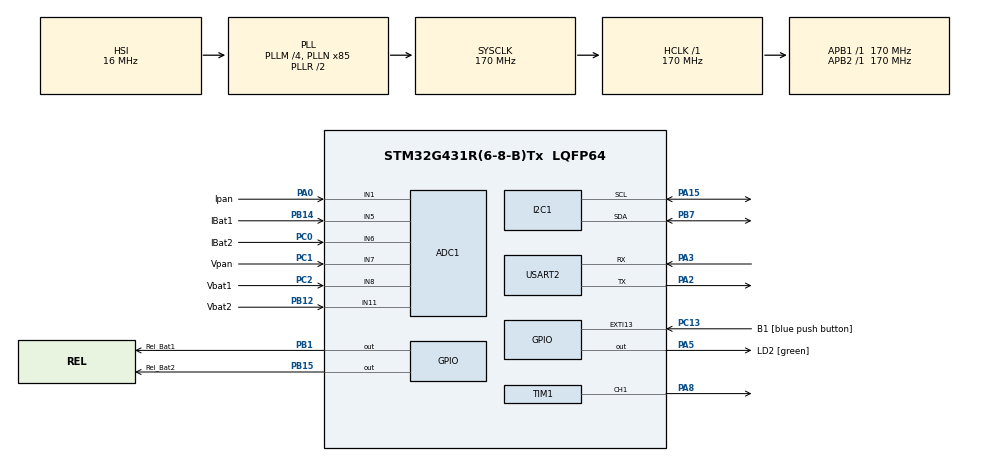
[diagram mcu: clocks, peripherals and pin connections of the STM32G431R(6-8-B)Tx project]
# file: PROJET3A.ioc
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ADC1.Channel-0\#ChannelRegularConversion=ADC_CHANNEL_1
ADC1.Channel-1\#ChannelRegularConversion=ADC_CHANNEL_5
ADC1.Channel-2\#ChannelRegularConversion=ADC_CHANNEL_6
ADC1.Channel-3\#ChannelRegularConversion=ADC_CHANNEL_7
ADC1.Channel-4\#ChannelRegularConversion=ADC_CHANNEL_8
ADC1.Channel-5\#ChannelRegularConversion=ADC_CHANNEL_11
ADC1.DMAContinuousRequests=ENABLE
ADC1.ExternalTrigConv=ADC_EXTERNALTRIG_T2_TRGO
ADC1.NbrOfConversion=6
ADC1.NbrOfConversionFlag=1
ADC1.OffsetNumber-0\#ChannelRegularConversion=ADC_OFFSET_NONE
ADC1.OffsetNumber-1\#ChannelRegularConversion=ADC_OFFSET_NONE
ADC1.OffsetNumber-2\#ChannelRegularConversion=ADC_OFFSET_NONE
ADC1.OffsetNumber-3\#ChannelRegularConversion=ADC_OFFSET_NONE
ADC1.OffsetNumber-4\#ChannelRegularConversion=ADC_OFFSET_NONE
ADC1.OffsetNumber-5\#ChannelRegularConversion=ADC_OFFSET_NONE
ADC1.Rank-0\#ChannelRegularConversion=1
ADC1.Rank-1\#ChannelRegularConversion=2
ADC1.Rank-2\#ChannelRegularConversion=3
ADC1.Rank-3\#ChannelRegularConversion=4
ADC1.Rank-4\#ChannelRegularConversion=5
ADC1.Rank-5\#ChannelRegularConversion=6
ADC1.SamplingTime-0\#ChannelRegularConversion=ADC_SAMPLETIME_2CYCLES_5
ADC1.SamplingTime-1\#ChannelRegularConversion=ADC_SAMPLETIME_2CYCLES_5
ADC1.SamplingTime-2\#ChannelRegularConversion=ADC_SAMPLETIME_2CYCLES_5
ADC1.SamplingTime-3\#ChannelRegularConversion=ADC_SAMPLETIME_2CYCLES_5
ADC1.SamplingTime-4\#ChannelRegularConversion=ADC_SAMPLETIME_2CYCLES_5
ADC1.SamplingTime-5\#ChannelRegularConversion=ADC_SAMPLETIME_2CYCLES_5
ADC1.master=1
Dma.ADC1.0.Direction=DMA_PERIPH_TO_MEMORY
Dma.ADC1.0.EventEnable=DISABLE
Dma.ADC1.0.Instance=DMA1_Channel1
Dma.ADC1.0.MemDataAlignment=DMA_MDATAALIGN_WORD
Dma.ADC1.0.MemInc=DMA_MINC_ENABLE
Dma.ADC1.0.Mode=DMA_CIRCULAR
Dma.ADC1.0.PeriphDataAlignment=DMA_PDATAALIGN_WORD
Dma.ADC1.0.PeriphInc=DMA_PINC_DISABLE
Dma.ADC1.0.Polarity=HAL_DMAMUX_REQ_GEN_RISING
Dma.ADC1.0.Priority=DMA_PRIORITY_LOW
Dma.ADC1.0.RequestNumber=1
Dma.ADC1.0.SignalID=NONE
Dma.ADC1.0.SyncEnable=DISABLE
Dma.ADC1.0.SyncPolarity=HAL_DMAMUX_SYNC_NO_EVENT
Dma.ADC1.0.SyncRequestNumber=1
Dma.ADC1.0.SyncSignalID=NONE
Dma.Request0=ADC1
I2C1.Timing=0x30A0A7FB
Mcu.Family=STM32G4
Mcu.Name=STM32G431R(6-8-B)Tx
Mcu.Package=LQFP64
NVIC.DMA1_Channel1_IRQn=true\:0\:0\:false\:false\:true\:false\:true\:true
NVIC.EXTI15_10_IRQn=true\:0\:0\:false\:false\:true\:true\:true\:true
NVIC.PriorityGroup=NVIC_PRIORITYGROUP_4
NVIC.TIM3_IRQn=true\:0\:0\:false\:false\:true\:true\:true\:true
PA0.GPIO_Label=Ipan
PA0.Mode=IN1-Single-Ended
PA0.Signal=ADC1_IN1
PA13.GPIO_Label=T_SWDIO
PA13.Mode=Serial_Wire
PA13.Signal=SYS_JTMS-SWDIO
PA14.GPIO_Label=T_SWCLK
PA14.Mode=Serial_Wire
PA14.Signal=SYS_JTCK-SWCLK
PA15.Mode=I2C
PA15.Signal=I2C1_SCL
PA2.Mode=Asynchronous
PA2.Signal=USART2_TX
PA3.Mode=Asynchronous
PA3.Signal=USART2_RX
PA5.GPIO_Label=LD2 [green]
PA5.Signal=GPIO_Output
PA8.Signal=S_TIM1_CH1
PB1.GPIO_Label=Rel_Bat1
PB1.Signal=GPIO_Output
PB12.GPIO_Label=Vbat2
PB12.Mode=IN11-Single-Ended
PB12.Signal=ADC1_IN11
PB14.GPIO_Label=IBat1
PB14.Mode=IN5-Single-Ended
PB14.Signal=ADC1_IN5
PB15.GPIO_Label=Rel_Bat2
PB15.Signal=GPIO_Output
PB3.GPIO_Label=T_SWO
PB3.Signal=SYS_JTDO-SWO
PB7.Mode=I2C
PB7.Signal=I2C1_SDA
PC0.GPIO_Label=IBat2
PC0.Mode=IN6-Single-Ended
PC0.Signal=ADC1_IN6
PC1.GPIO_Label=Vpan
PC1.Mode=IN7-Single-Ended
PC1.Signal=ADC1_IN7
PC13.GPIO_Label=B1 [blue push button]
PC13.Signal=GPXTI13
PC14-OSC32_IN.Mode=LSE-External-Oscillator
PC14-OSC32_IN.Signal=RCC_OSC32_IN
PC15-OSC32_OUT.Mode=LSE-External-Oscillator
PC15-OSC32_OUT.Signal=RCC_OSC32_OUT
PC2.GPIO_Label=Vbat1
PC2.Mode=IN8-Single-Ended
PC2.Signal=ADC1_IN8
PF0-OSC_IN.Mode=HSE-External-Oscillator
PF0-OSC_IN.Signal=RCC_OSC_IN
PF1-OSC_OUT.Mode=HSE-External-Oscillator
PF1-OSC_OUT.Signal=RCC_OSC_OUT
ProjectManager.HeapSize=0x200
ProjectManager.StackSize=0x400
ProjectManager.TargetToolchain=STM32CubeIDE
RCC.ADC12Freq_Value=170000000
RCC.AHBFreq_Value=170000000
RCC.APB1Freq_Value=170000000
RCC.APB1TimFreq_Value=170000000
RCC.APB2Freq_Value=170000000
RCC.APB2TimFreq_Value=170000000
RCC.CortexFreq_Value=170000000
RCC.EXTERNAL_CLOCK_VALUE=12288000
RCC.HCLKFreq_Value=170000000
RCC.HSE_VALUE=24000000
RCC.HSI48_VALUE=48000000
RCC.HSI_VALUE=16000000
RCC.PLLM=RCC_PLLM_DIV4
RCC.PLLN=85
RCC.RTCClockSelection=RCC_RTCCLKSOURCE_LSE
RCC.SYSCLKFreq_VALUE=170000000
RCC.SYSCLKSource=RCC_SYSCLKSOURCE_PLLCLK
RCC.USBFreq_Value=170000000
RCC.VCOOutputFreq_Value=340000000
SH.S_TIM1_CH1.0=TIM1_CH1,PWM Generation1 CH1
TIM1.AutoReloadPreload=TIM_AUTORELOAD_PRELOAD_ENABLE
TIM1.Channel-PWM\ Generation1\ CH1=TIM_CHANNEL_1
TIM1.PeriodNoDither=17199
TIM1.Prescaler=0
TIM2.PeriodNoDither=17199
TIM2.TIM_MasterOutputTrigger=TIM_TRGO_UPDATE
TIM2.TIM_MasterSlaveMode=TIM_MASTERSLAVEMODE_ENABLE
TIM3.AutoReloadPreload=TIM_AUTORELOAD_PRELOAD_ENABLE
TIM3.Prescaler=2593
USART2.VirtualMode-Asynchronous=VM_ASYNC
VP_SYS_VS_DBSignals.Mode=DisableDeadBatterySignals
VP_TIM1_VS_ClockSourceINT.Mode=Internal
VP_TIM2_VS_ClockSourceINT.Mode=Internal
VP_TIM3_VS_ClockSourceINT.Mode=Internal
board=NUCLEO-G431RB

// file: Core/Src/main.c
/* USER CODE BEGIN Header */
/**
  ******************************************************************************
  * @file           : main.c
  * @brief          : Main program body
  ******************************************************************************
  * @attention
  *
  * Copyright (c) 2022 STMicroelectronics.
  * All rights reserved.
  *
  * This software is licensed under terms that can be found in the LICENSE file
  * in the root directory of this software component.
  * If no LICENSE file comes with this software, it is provided AS-IS.
  *
  ******************************************************************************
  */
/* USER CODE END Header */
#include "main.h"

/* USER CODE BEGIN Includes */
#include <stdio.h>
#include <string.h>
/* USER CODE END Includes */

/* USER CODE BEGIN PD */
#define UARTTX_BUFFER_SIZE 64
#define ADC_BUFFER_SIZE 6
/* USER CODE END PD */

ADC_HandleTypeDef hadc1;
DMA_HandleTypeDef hdma_adc1;

I2C_HandleTypeDef hi2c1;

TIM_HandleTypeDef htim1;
TIM_HandleTypeDef htim2;
TIM_HandleTypeDef htim3;

UART_HandleTypeDef huart2;

/* USER CODE BEGIN PV */
uint8_t uartTX_Buffer[UARTTX_BUFFER_SIZE];
uint32_t adc1Buffer[ADC_BUFFER_SIZE];
float MeasuredDataBuffer[ADC_BUFFER_SIZE];
int adc1flag = 0;
int lcdflag=0;

/* USER CODE END PV */

void SystemClock_Config(void);
static void MX_GPIO_Init(void);
static void MX_DMA_Init(void);
static void MX_USART2_UART_Init(void);
static void MX_TIM1_Init(void);
static void MX_TIM2_Init(void);
static void MX_ADC1_Init(void);
static void MX_I2C1_Init(void);
static void MX_TIM3_Init(void);

int main(void)
{

  /* MCU Configuration--------------------------------------------------------*/

  /* Reset of all peripherals, Initializes the Flash interface and the Systick. */
  HAL_Init();

  /* Configure the system clock */
  SystemClock_Config();

  /* Initialize all configured peripherals */
  MX_GPIO_Init();
  MX_DMA_Init();
  MX_USART2_UART_Init();
  MX_TIM1_Init();
  MX_TIM2_Init();
  MX_ADC1_Init();
  MX_I2C1_Init();
  MX_TIM3_Init();
  /* USER CODE BEGIN 2 */
  sprintf (uartTX_Buffer,"PROJET 3A - Chargeur MPPT");
  HAL_UART_Transmit(&huart2, uartTX_Buffer, strlen(uartTX_Buffer), HAL_MAX_DELAY);

  //Start TIM1&2
  HAL_TIM_PWM_Start(&htim1, TIM_CHANNEL_1);
  HAL_TIM_Base_Start(&htim2);

  //Start ADC1&2 in DMA Mode triggered by TIM2
  HAL_ADC_Start_DMA(&hadc1, adc1Buffer, ADC_BUFFER_SIZE);

  //LCD Initialisation
  lcdInit();
  HAL_TIM_Base_Start_IT(&htim3);

  /* USER CODE END 2 */

  /* Infinite loop */
  /* USER CODE BEGIN WHILE */
  while (1)
  {
	  UartprintADCValue();
	  //lcdchangeDisplay();
    /* USER CODE END WHILE */

  }
}

void SystemClock_Config(void)
{
  RCC_OscInitTypeDef RCC_OscInitStruct = {0};
  RCC_ClkInitTypeDef RCC_ClkInitStruct = {0};

  /** Configure the main internal regulator output voltage
  */
  HAL_PWREx_ControlVoltageScaling(PWR_REGULATOR_VOLTAGE_SCALE1_BOOST);

  /** Initializes the RCC Oscillators according to the specified parameters
  * in the RCC_OscInitTypeDef structure.
  */
  RCC_OscInitStruct.OscillatorType = RCC_OSCILLATORTYPE_HSI;
  RCC_OscInitStruct.HSIState = RCC_HSI_ON;
  RCC_OscInitStruct.HSICalibrationValue = RCC_HSICALIBRATION_DEFAULT;
  RCC_OscInitStruct.PLL.PLLState = RCC_PLL_ON;
  RCC_OscInitStruct.PLL.PLLSource = RCC_PLLSOURCE_HSI;
  RCC_OscInitStruct.PLL.PLLM = RCC_PLLM_DIV4;
  RCC_OscInitStruct.PLL.PLLN = 85;
  RCC_OscInitStruct.PLL.PLLP = RCC_PLLP_DIV2;
  RCC_OscInitStruct.PLL.PLLQ = RCC_PLLQ_DIV2;
  RCC_OscInitStruct.PLL.PLLR = RCC_PLLR_DIV2;
  if (HAL_RCC_OscConfig(&RCC_OscInitStruct) != HAL_OK)
  {
    Error_Handler();
  }

  /** Initializes the CPU, AHB and APB buses clocks
  */
  RCC_ClkInitStruct.ClockType = RCC_CLOCKTYPE_HCLK|RCC_CLOCKTYPE_SYSCLK
                              |RCC_CLOCKTYPE_PCLK1|RCC_CLOCKTYPE_PCLK2;
  RCC_ClkInitStruct.SYSCLKSource = RCC_SYSCLKSOURCE_PLLCLK;
  RCC_ClkInitStruct.AHBCLKDivider = RCC_SYSCLK_DIV1;
  RCC_ClkInitStruct.APB1CLKDivider = RCC_HCLK_DIV1;
  RCC_ClkInitStruct.APB2CLKDivider = RCC_HCLK_DIV1;

  if (HAL_RCC_ClockConfig(&RCC_ClkInitStruct, FLASH_LATENCY_4) != HAL_OK)
  {
    Error_Handler();
  }
}

static void MX_ADC1_Init(void)
{

  ADC_MultiModeTypeDef multimode = {0};
  ADC_ChannelConfTypeDef sConfig = {0};

  /** Common config
  */
  hadc1.Instance = ADC1;
  hadc1.Init.ClockPrescaler = ADC_CLOCK_SYNC_PCLK_DIV4;
  hadc1.Init.Resolution = ADC_RESOLUTION_12B;
  hadc1.Init.DataAlign = ADC_DATAALIGN_RIGHT;
  hadc1.Init.GainCompensation = 0;
  hadc1.Init.ScanConvMode = ADC_SCAN_ENABLE;
  hadc1.Init.EOCSelection = ADC_EOC_SINGLE_CONV;
  hadc1.Init.LowPowerAutoWait = DISABLE;
  hadc1.Init.ContinuousConvMode = DISABLE;
  hadc1.Init.NbrOfConversion = 6;
  hadc1.Init.DiscontinuousConvMode = DISABLE;
  hadc1.Init.ExternalTrigConv = ADC_EXTERNALTRIG_T2_TRGO;
  hadc1.Init.ExternalTrigConvEdge = ADC_EXTERNALTRIGCONVEDGE_RISING;
  hadc1.Init.DMAContinuousRequests = ENABLE;
  hadc1.Init.Overrun = ADC_OVR_DATA_PRESERVED;
  hadc1.Init.OversamplingMode = DISABLE;
  if (HAL_ADC_Init(&hadc1) != HAL_OK)
  {
    Error_Handler();
  }

  /** Configure the ADC multi-mode
  */
  multimode.Mode = ADC_MODE_INDEPENDENT;
  if (HAL_ADCEx_MultiModeConfigChannel(&hadc1, &multimode) != HAL_OK)
  {
    Error_Handler();
  }

  /** Configure Regular Channel
  */
  sConfig.Channel = ADC_CHANNEL_1;
  sConfig.Rank = ADC_REGULAR_RANK_1;
  sConfig.SamplingTime = ADC_SAMPLETIME_2CYCLES_5;
  sConfig.SingleDiff = ADC_SINGLE_ENDED;
  sConfig.OffsetNumber = ADC_OFFSET_NONE;
  sConfig.Offset = 0;
  if (HAL_ADC_ConfigChannel(&hadc1, &sConfig) != HAL_OK)
  {
    Error_Handler();
  }

  /** Configure Regular Channel
  */
  sConfig.Channel = ADC_CHANNEL_5;
  sConfig.Rank = ADC_REGULAR_RANK_2;
  if (HAL_ADC_ConfigChannel(&hadc1, &sConfig) != HAL_OK)
  {
    Error_Handler();
  }

  /** Configure Regular Channel
  */
  sConfig.Channel = ADC_CHANNEL_6;
  sConfig.Rank = ADC_REGULAR_RANK_3;
  if (HAL_ADC_ConfigChannel(&hadc1, &sConfig) != HAL_OK)
  {
    Error_Handler();
  }

  /** Configure Regular Channel
  */
  sConfig.Channel = ADC_CHANNEL_7;
  sConfig.Rank = ADC_REGULAR_RANK_4;
  if (HAL_ADC_ConfigChannel(&hadc1, &sConfig) != HAL_OK)
  {
    Error_Handler();
  }

  /** Configure Regular Channel
  */
  sConfig.Channel = ADC_CHANNEL_8;
  sConfig.Rank = ADC_REGULAR_RANK_5;
  if (HAL_ADC_ConfigChannel(&hadc1, &sConfig) != HAL_OK)
  {
    Error_Handler();
  }

  /** Configure Regular Channel
  */
  sConfig.Channel = ADC_CHANNEL_11;
  sConfig.Rank = ADC_REGULAR_RANK_6;
  if (HAL_ADC_ConfigChannel(&hadc1, &sConfig) != HAL_OK)
  {
    Error_Handler();
  }

}

static void MX_I2C1_Init(void)
{

  hi2c1.Instance = I2C1;
  hi2c1.Init.Timing = 0x30A0A7FB;
  hi2c1.Init.OwnAddress1 = 0;
  hi2c1.Init.AddressingMode = I2C_ADDRESSINGMODE_7BIT;
  hi2c1.Init.DualAddressMode = I2C_DUALADDRESS_DISABLE;
  hi2c1.Init.OwnAddress2 = 0;
  hi2c1.Init.OwnAddress2Masks = I2C_OA2_NOMASK;
  hi2c1.Init.GeneralCallMode = I2C_GENERALCALL_DISABLE;
  hi2c1.Init.NoStretchMode = I2C_NOSTRETCH_DISABLE;
  if (HAL_I2C_Init(&hi2c1) != HAL_OK)
  {
    Error_Handler();
  }

  /** Configure Analogue filter
  */
  if (HAL_I2CEx_ConfigAnalogFilter(&hi2c1, I2C_ANALOGFILTER_ENABLE) != HAL_OK)
  {
    Error_Handler();
  }

  /** Configure Digital filter
  */
  if (HAL_I2CEx_ConfigDigitalFilter(&hi2c1, 0) != HAL_OK)
  {
    Error_Handler();
  }

}

static void MX_TIM1_Init(void)
{

  TIM_ClockConfigTypeDef sClockSourceConfig = {0};
  TIM_MasterConfigTypeDef sMasterConfig = {0};
  TIM_OC_InitTypeDef sConfigOC = {0};
  TIM_BreakDeadTimeConfigTypeDef sBreakDeadTimeConfig = {0};

  htim1.Instance = TIM1;
  htim1.Init.Prescaler = 0;
  htim1.Init.CounterMode = TIM_COUNTERMODE_UP;
  htim1.Init.Period = 17199;
  htim1.Init.ClockDivision = TIM_CLOCKDIVISION_DIV1;
  htim1.Init.RepetitionCounter = 0;
  htim1.Init.AutoReloadPreload = TIM_AUTORELOAD_PRELOAD_ENABLE;
  if (HAL_TIM_Base_Init(&htim1) != HAL_OK)
  {
    Error_Handler();
  }
  sClockSourceConfig.ClockSource = TIM_CLOCKSOURCE_INTERNAL;
  if (HAL_TIM_ConfigClockSource(&htim1, &sClockSourceConfig) != HAL_OK)
  {
    Error_Handler();
  }
  if (HAL_TIM_PWM_Init(&htim1) != HAL_OK)
  {
    Error_Handler();
  }
  sMasterConfig.MasterOutputTrigger = TIM_TRGO_RESET;
  sMasterConfig.MasterOutputTrigger2 = TIM_TRGO2_RESET;
  sMasterConfig.MasterSlaveMode = TIM_MASTERSLAVEMODE_DISABLE;
  if (HAL_TIMEx_MasterConfigSynchronization(&htim1, &sMasterConfig) != HAL_OK)
  {
    Error_Handler();
  }
  sConfigOC.OCMode = TIM_OCMODE_PWM1;
  sConfigOC.Pulse = 0;
  sConfigOC.OCPolarity = TIM_OCPOLARITY_HIGH;
  sConfigOC.OCNPolarity = TIM_OCNPOLARITY_HIGH;
  sConfigOC.OCFastMode = TIM_OCFAST_DISABLE;
  sConfigOC.OCIdleState = TIM_OCIDLESTATE_RESET;
  sConfigOC.OCNIdleState = TIM_OCNIDLESTATE_RESET;
  if (HAL_TIM_PWM_ConfigChannel(&htim1, &sConfigOC, TIM_CHANNEL_1) != HAL_OK)
  {
    Error_Handler();
  }
  sBreakDeadTimeConfig.OffStateRunMode = TIM_OSSR_DISABLE;
  sBreakDeadTimeConfig.OffStateIDLEMode = TIM_OSSI_DISABLE;
  sBreakDeadTimeConfig.LockLevel = TIM_LOCKLEVEL_OFF;
  sBreakDeadTimeConfig.DeadTime = 0;
  sBreakDeadTimeConfig.BreakState = TIM_BREAK_DISABLE;
  sBreakDeadTimeConfig.BreakPolarity = TIM_BREAKPOLARITY_HIGH;
  sBreakDeadTimeConfig.BreakFilter = 0;
  sBreakDeadTimeConfig.BreakAFMode = TIM_BREAK_AFMODE_INPUT;
  sBreakDeadTimeConfig.Break2State = TIM_BREAK2_DISABLE;
  sBreakDeadTimeConfig.Break2Polarity = TIM_BREAK2POLARITY_HIGH;
  sBreakDeadTimeConfig.Break2Filter = 0;
  sBreakDeadTimeConfig.Break2AFMode = TIM_BREAK_AFMODE_INPUT;
  sBreakDeadTimeConfig.AutomaticOutput = TIM_AUTOMATICOUTPUT_DISABLE;
  if (HAL_TIMEx_ConfigBreakDeadTime(&htim1, &sBreakDeadTimeConfig) != HAL_OK)
  {
    Error_Handler();
  }
  HAL_TIM_MspPostInit(&htim1);

}

static void MX_TIM2_Init(void)
{

  TIM_ClockConfigTypeDef sClockSourceConfig = {0};
  TIM_MasterConfigTypeDef sMasterConfig = {0};

  htim2.Instance = TIM2;
  htim2.Init.Prescaler = 0;
  htim2.Init.CounterMode = TIM_COUNTERMODE_UP;
  htim2.Init.Period = 17199;
  htim2.Init.ClockDivision = TIM_CLOCKDIVISION_DIV1;
  htim2.Init.AutoReloadPreload = TIM_AUTORELOAD_PRELOAD_DISABLE;
  if (HAL_TIM_Base_Init(&htim2) != HAL_OK)
  {
    Error_Handler();
  }
  sClockSourceConfig.ClockSource = TIM_CLOCKSOURCE_INTERNAL;
  if (HAL_TIM_ConfigClockSource(&htim2, &sClockSourceConfig) != HAL_OK)
  {
    Error_Handler();
  }
  sMasterConfig.MasterOutputTrigger = TIM_TRGO_UPDATE;
  sMasterConfig.MasterSlaveMode = TIM_MASTERSLAVEMODE_ENABLE;
  if (HAL_TIMEx_MasterConfigSynchronization(&htim2, &sMasterConfig) != HAL_OK)
  {
    Error_Handler();
  }

}

static void MX_TIM3_Init(void)
{

  TIM_ClockConfigTypeDef sClockSourceConfig = {0};
  TIM_MasterConfigTypeDef sMasterConfig = {0};

  htim3.Instance = TIM3;
  htim3.Init.Prescaler = 2593;
  htim3.Init.CounterMode = TIM_COUNTERMODE_UP;
  htim3.Init.Period = 65535;
  htim3.Init.ClockDivision = TIM_CLOCKDIVISION_DIV1;
  htim3.Init.AutoReloadPreload = TIM_AUTORELOAD_PRELOAD_ENABLE;
  if (HAL_TIM_Base_Init(&htim3) != HAL_OK)
  {
    Error_Handler();
  }
  sClockSourceConfig.ClockSource = TIM_CLOCKSOURCE_INTERNAL;
  if (HAL_TIM_ConfigClockSource(&htim3, &sClockSourceConfig) != HAL_OK)
  {
    Error_Handler();
  }
  sMasterConfig.MasterOutputTrigger = TIM_TRGO_RESET;
  sMasterConfig.MasterSlaveMode = TIM_MASTERSLAVEMODE_DISABLE;
  if (HAL_TIMEx_MasterConfigSynchronization(&htim3, &sMasterConfig) != HAL_OK)
  {
    Error_Handler();
  }

}

static void MX_USART2_UART_Init(void)
{

  huart2.Instance = USART2;
  huart2.Init.BaudRate = 115200;
  huart2.Init.WordLength = UART_WORDLENGTH_8B;
  huart2.Init.StopBits = UART_STOPBITS_1;
  huart2.Init.Parity = UART_PARITY_NONE;
  huart2.Init.Mode = UART_MODE_TX_RX;
  huart2.Init.HwFlowCtl = UART_HWCONTROL_NONE;
  huart2.Init.OverSampling = UART_OVERSAMPLING_16;
  huart2.Init.OneBitSampling = UART_ONE_BIT_SAMPLE_DISABLE;
  huart2.Init.ClockPrescaler = UART_PRESCALER_DIV1;
  huart2.AdvancedInit.AdvFeatureInit = UART_ADVFEATURE_NO_INIT;
  if (HAL_UART_Init(&huart2) != HAL_OK)
  {
    Error_Handler();
  }
  if (HAL_UARTEx_SetTxFifoThreshold(&huart2, UART_TXFIFO_THRESHOLD_1_8) != HAL_OK)
  {
    Error_Handler();
  }
  if (HAL_UARTEx_SetRxFifoThreshold(&huart2, UART_RXFIFO_THRESHOLD_1_8) != HAL_OK)
  {
    Error_Handler();
  }
  if (HAL_UARTEx_DisableFifoMode(&huart2) != HAL_OK)
  {
    Error_Handler();
  }

}

static void MX_DMA_Init(void)
{

  /* DMA controller clock enable */
  __HAL_RCC_DMAMUX1_CLK_ENABLE();
  __HAL_RCC_DMA1_CLK_ENABLE();

  /* DMA interrupt init */
  /* DMA1_Channel1_IRQn interrupt configuration */
  HAL_NVIC_SetPriority(DMA1_Channel1_IRQn, 0, 0);
  HAL_NVIC_EnableIRQ(DMA1_Channel1_IRQn);

}

static void MX_GPIO_Init(void)
{
  GPIO_InitTypeDef GPIO_InitStruct = {0};

  /* GPIO Ports Clock Enable */
  __HAL_RCC_GPIOC_CLK_ENABLE();
  __HAL_RCC_GPIOF_CLK_ENABLE();
  __HAL_RCC_GPIOA_CLK_ENABLE();
  __HAL_RCC_GPIOB_CLK_ENABLE();

  /*Configure GPIO pin Output Level */
  HAL_GPIO_WritePin(LD2_GPIO_Port, LD2_Pin, GPIO_PIN_RESET);

  /*Configure GPIO pin Output Level */
  HAL_GPIO_WritePin(GPIOB, Rel_Bat1_Pin|Rel_Bat2_Pin, GPIO_PIN_RESET);

  /*Configure GPIO pin : B1_Pin */
  GPIO_InitStruct.Pin = B1_Pin;
  GPIO_InitStruct.Mode = GPIO_MODE_IT_RISING;
  GPIO_InitStruct.Pull = GPIO_NOPULL;
  HAL_GPIO_Init(B1_GPIO_Port, &GPIO_InitStruct);

  /*Configure GPIO pin : LD2_Pin */
  GPIO_InitStruct.Pin = LD2_Pin;
  GPIO_InitStruct.Mode = GPIO_MODE_OUTPUT_PP;
  GPIO_InitStruct.Pull = GPIO_NOPULL;
  GPIO_InitStruct.Speed = GPIO_SPEED_FREQ_LOW;
  HAL_GPIO_Init(LD2_GPIO_Port, &GPIO_InitStruct);

  /*Configure GPIO pins : Rel_Bat1_Pin Rel_Bat2_Pin */
  GPIO_InitStruct.Pin = Rel_Bat1_Pin|Rel_Bat2_Pin;
  GPIO_InitStruct.Mode = GPIO_MODE_OUTPUT_PP;
  GPIO_InitStruct.Pull = GPIO_NOPULL;
  GPIO_InitStruct.Speed = GPIO_SPEED_FREQ_LOW;
  HAL_GPIO_Init(GPIOB, &GPIO_InitStruct);

  /* EXTI interrupt init*/
  HAL_NVIC_SetPriority(EXTI15_10_IRQn, 0, 0);
  HAL_NVIC_EnableIRQ(EXTI15_10_IRQn);

}

/* USER CODE BEGIN 4 */

//ADC_Conversion complete callback
void HAL_ADC_ConvCpltCallback(ADC_HandleTypeDef *hadc)
{
  if (hadc == &hadc1)
  {
	  adc1flag=1;
  }

}

//GPIO EXTI Callback

void HAL_TIM_PeriodElapsedCallback(TIM_HandleTypeDef *htim)
{
	fillMeasuredValueBuffer();
	lcdchangeDisplay();
}
void HAL_GPIO_EXTI_Callback(uint16_t GPIO_Pin)
{
  if (GPIO_Pin == B1_Pin)
  {
	  if (lcdflag==0)
	  {
		  lcdflag=1;
	  }
	  else
	  {
		  lcdflag=0;
	  }
	  lcdchangeDisplay();
  }
}

void UartprintADCValue(void)
{
	if (adc1flag==1)
	{
		adc1flag=0;
		sprintf(uartTX_Buffer,"Current: Pan:%.1f | Bat1:%.1f | Bat2:%.1f\r\n",MeasuredDataBuffer[0],MeasuredDataBuffer[1],MeasuredDataBuffer[2]);
		HAL_UART_Transmit(&huart2, uartTX_Buffer, strlen(uartTX_Buffer), HAL_MAX_DELAY);
		sprintf(uartTX_Buffer,"Voltage: Pan:%.1f | Bat1:%.1f | Bat2:%.1f\r\n",MeasuredDataBuffer[3],MeasuredDataBuffer[4],MeasuredDataBuffer[5]);
		HAL_UART_Transmit(&huart2, uartTX_Buffer, strlen(uartTX_Buffer), HAL_MAX_DELAY);
	}

}

//Conversion for display values

//Batteries
//Shunt
float convertForShunt (int decimalValue)
{
	float shuntRes=0.005;
	float adcVoltage= (float)decimalValue*3.3/4096;
	float current= adcVoltage/shuntRes;
	return (current);
}

float convertForBattVoltage(int decimalValue)
{
	int r1=1000;
	int r2=271;

	float adcVoltage= decimalValue*3.3/4096;
	float voltage=adcVoltage*(r1+r2)/r2;
	return voltage;
}

//Pannel

float convertForPannelVoltage(int decimalValue)
{
	int r1=1000;
	int r2=69.8;

	float adcVoltage= decimalValue*3.3/4096;
	float voltage= adcVoltage*(r1+r2)/r2;
	return voltage;
}

float convertForPannelCurrent(int decimalValue)
{
	//Max current value measured: 30.2A but pannel's current is 5A max so it's ok.
	float adcVoltage=decimalValue*3.3/4096;
	float current= (adcVoltage-2.5)*(170/4.5);
	return current;
}

void fillMeasuredValueBuffer()
{
	float pannelCurrent= convertForPannelCurrent(adc1Buffer[0]);
	float bat1Current= convertForShunt(adc1Buffer[1]);
	float bat2Current= convertForShunt(adc1Buffer[2]);
	float pannelVoltage= convertForPannelVoltage(adc1Buffer[3]);
	float bat1Voltage= convertForBattVoltage(adc1Buffer[4]);
	float bat2Voltage= convertForBattVoltage(adc1Buffer[5]);
	MeasuredDataBuffer[0]= pannelCurrent;
	MeasuredDataBuffer[1]= bat1Current;
	MeasuredDataBuffer[2]= bat2Current;
	MeasuredDataBuffer[3]= pannelVoltage;
	MeasuredDataBuffer[4]=bat1Voltage;
	MeasuredDataBuffer[5]=bat2Voltage;
}

//Battery

//LCD Display Functions
void lcdInit()
{
	  HD44780_Init(2);
	  HD44780_Clear();
	  HD44780_SetCursor(1,0);
	  HD44780_PrintStr("SOLAR CHARGER");
	  HD44780_SetCursor(5, 1);
	  HD44780_PrintStr("V1.0");
	  HAL_Delay(2000);
	  lcdDispVoltage();
}
void lcdDispVoltage()
{

	char buffer[16];
	HD44780_Clear();
	HD44780_SetCursor(0, 0);
	sprintf(buffer,"Vp=%.1f Vb1=%.1f",MeasuredDataBuffer[3],MeasuredDataBuffer[4]);
	HD44780_PrintStr(buffer);
	HD44780_SetCursor(4, 1);
	sprintf(buffer,"Vb2=%.1f",MeasuredDataBuffer[5]);
	HD44780_PrintStr(buffer);
}

void lcdDispCurrent()
{
	//pour test//
	char buffer[16];
	HD44780_Clear();
	HD44780_SetCursor(0, 0);
	sprintf(buffer,"Ip=%.1f Ib1=%.1f",MeasuredDataBuffer[0],MeasuredDataBuffer[1]);
	HD44780_PrintStr(buffer);
	HD44780_SetCursor(4, 1);
	sprintf(buffer,"Ib2=%.1f",MeasuredDataBuffer[2]);
	HD44780_PrintStr(buffer);
}

void lcdchangeDisplay()
{
	if (lcdflag==0)
	{
		lcdDispVoltage();
	}
	else
	{
		lcdDispCurrent();
	}
}

/* USER CODE END 4 */

void Error_Handler(void)
{
  __disable_irq();
  while (1)
  {
  }
}
